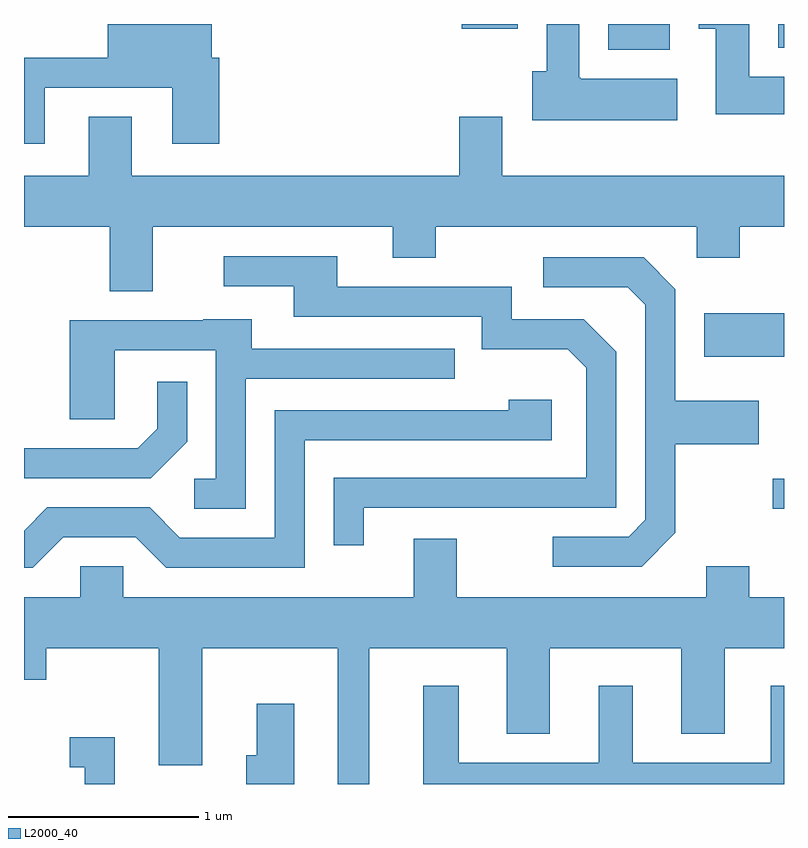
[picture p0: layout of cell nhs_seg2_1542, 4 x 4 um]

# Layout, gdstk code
import gdstk
lib = gdstk.Library(unit=1e-6, precision=1e-09)
def R(c, l, rs):  # rectangles x0, y0, x1, y1
    for r in rs: c.add(gdstk.rectangle(r[:2], r[2:], *l))
def P(c, l, *ps):  # polygons
    for p in ps: c.add(gdstk.Polygon(p, *l))
L2000_40 = (2000, 40)

nhs_seg2_1542 = lib.new_cell('nhs_seg2_1542')
R(nhs_seg2_1542, L2000_40, [(233.553,1071.251,233.611,1071.409), (233.191,1072.051,233.611,1072.279), (232.686,1073.666,233.009,1073.802), (233.581,1073.676,233.611,1073.802), (231.916,1073.776,232.209,1073.802)])
P(nhs_seg2_1542, L2000_40, [(229.719,1073.466),(230.391,1073.466),(230.391,1073.171),(230.639,1073.171),(230.639,1073.624),(230.599,1073.624),(230.599,1073.802),(230.051,1073.802),(230.051,1073.624),(229.611,1073.624),(229.611,1073.171),(229.719,1073.171)],
  [(233.611,1073.524),(233.429,1073.524),(233.429,1073.802),(233.161,1073.802),(233.161,1073.776),(233.251,1073.776),(233.251,1073.326),(233.611,1073.326)],
  [(233.049,1073.514),(232.54,1073.514),(232.54,1073.52),(232.534,1073.52),(232.534,1073.802),(232.361,1073.802),(232.361,1073.554),(232.286,1073.554),(232.286,1073.296),(233.049,1073.296)],
  [(230.289,1072.736),(231.551,1072.736),(231.551,1072.571),(231.779,1072.571),(231.779,1072.736),(233.151,1072.736),(233.151,1072.571),(233.379,1072.571),(233.379,1072.736),(233.611,1072.736),(233.611,1073.004),(232.129,1073.004),(232.129,1073.314),(231.901,1073.314),(231.901,1073.004),(230.179,1073.004),(230.179,1073.314),(229.951,1073.314),(229.951,1073.004),(229.611,1073.004),(229.611,1072.736),(230.061,1072.736),(230.061,1072.396),(230.289,1072.396)],
  [(231.399,1071.256),(232.729,1071.256),(232.729,1072.077),(232.557,1072.249),(232.179,1072.249),(232.179,1072.419),(231.259,1072.419),(231.259,1072.579),(230.663,1072.579),(230.663,1072.421),(231.031,1072.421),(231.031,1072.261),(232.021,1072.261),(232.021,1072.091),(232.474,1072.091),(232.571,1071.994),(232.571,1071.414),(231.241,1071.414),(231.241,1071.058),(231.399,1071.058)],
  [(233.039,1071.124),(233.039,1071.591),(233.479,1071.591),(233.479,1071.819),(233.039,1071.819),(233.039,1072.407),(232.872,1072.574),(232.343,1072.574),(232.343,1072.416),(232.789,1072.416),(232.881,1072.324),(232.881,1071.192),(232.794,1071.104),(232.393,1071.104),(232.393,1070.946),(232.862,1070.946)],
  [(230.779,1071.936),(231.878,1071.936),(231.878,1072.094),(230.809,1072.094),(230.809,1072.249),(230.555,1072.249),(230.555,1072.244),(229.851,1072.244),(229.851,1071.721),(230.089,1071.721),(230.089,1072.086),(230.621,1072.086),(230.621,1071.409),(230.508,1071.409),(230.508,1071.251),(230.779,1071.251)],
  [(230.469,1071.604),(230.469,1071.918),(230.311,1071.918),(230.311,1071.672),(230.209,1071.569),(229.611,1071.569),(229.611,1071.411),(230.277,1071.411)],
  [(229.817,1071.101),(230.199,1071.101),(230.359,1070.941),(231.089,1070.941),(231.089,1071.611),(232.389,1071.611),(232.389,1071.824),(232.161,1071.824),(232.161,1071.769),(230.931,1071.769),(230.931,1071.099),(230.432,1071.099),(230.272,1071.259),(229.734,1071.259),(229.611,1071.136),(229.611,1070.941),(229.657,1070.941)],
  [(231.429,1070.516),(232.151,1070.516),(232.151,1070.066),(232.379,1070.066),(232.379,1070.516),(233.071,1070.516),(233.071,1070.066),(233.299,1070.066),(233.299,1070.516),(233.611,1070.516),(233.611,1070.784),(233.429,1070.784),(233.429,1070.949),(233.201,1070.949),(233.201,1070.784),(231.889,1070.784),(231.889,1071.094),(231.661,1071.094),(231.661,1070.784),(230.134,1070.784),(230.134,1070.949),(229.906,1070.949),(229.906,1070.784),(229.611,1070.784),(229.611,1070.351),(229.729,1070.351),(229.729,1070.516),(230.321,1070.516),(230.321,1069.901),(230.549,1069.901),(230.549,1070.516),(231.261,1070.516),(231.261,1069.802),(231.429,1069.802)],
  [(233.611,1070.319),(233.541,1070.319),(233.541,1069.914),(232.814,1069.914),(232.814,1070.319),(232.636,1070.319),(232.636,1069.914),(231.899,1069.914),(231.899,1070.319),(231.711,1070.319),(231.711,1069.802),(233.611,1069.802)],
  [(231.034,1070.224),(230.836,1070.224),(230.836,1069.954),(230.781,1069.954),(230.781,1069.802),(231.034,1069.802)],
  [(230.089,1070.049),(229.853,1070.049),(229.853,1069.891),(229.931,1069.891),(229.931,1069.802),(230.089,1069.802)])

lib.write_gds('nhs_seg2_1542.gds')
